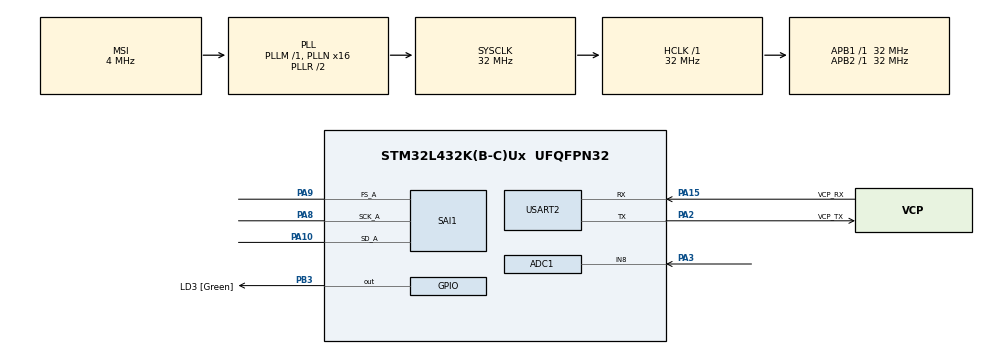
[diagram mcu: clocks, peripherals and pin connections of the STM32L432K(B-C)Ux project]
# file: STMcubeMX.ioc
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ADC1.Channel-0\#ChannelRegularConversion=ADC_CHANNEL_8
ADC1.DMAContinuousRequests=ENABLE
ADC1.ExternalTrigConv=ADC_EXTERNALTRIG_T1_TRGO
ADC1.NbrOfConversionFlag=1
ADC1.OffsetNumber-0\#ChannelRegularConversion=ADC_OFFSET_NONE
ADC1.Rank-0\#ChannelRegularConversion=1
ADC1.SamplingTime-0\#ChannelRegularConversion=ADC_SAMPLETIME_2CYCLES_5
ADC1.master=1
Dma.ADC1.0.Direction=DMA_PERIPH_TO_MEMORY
Dma.ADC1.0.Instance=DMA1_Channel1
Dma.ADC1.0.MemDataAlignment=DMA_MDATAALIGN_HALFWORD
Dma.ADC1.0.MemInc=DMA_MINC_ENABLE
Dma.ADC1.0.Mode=DMA_CIRCULAR
Dma.ADC1.0.PeriphDataAlignment=DMA_PDATAALIGN_HALFWORD
Dma.ADC1.0.PeriphInc=DMA_PINC_DISABLE
Dma.ADC1.0.Priority=DMA_PRIORITY_LOW
Dma.Request0=ADC1
Dma.Request1=SAI1_A
Dma.SAI1_A.1.Direction=DMA_MEMORY_TO_PERIPH
Dma.SAI1_A.1.Instance=DMA2_Channel1
Dma.SAI1_A.1.MemDataAlignment=DMA_MDATAALIGN_HALFWORD
Dma.SAI1_A.1.MemInc=DMA_MINC_ENABLE
Dma.SAI1_A.1.Mode=DMA_CIRCULAR
Dma.SAI1_A.1.PeriphDataAlignment=DMA_PDATAALIGN_HALFWORD
Dma.SAI1_A.1.PeriphInc=DMA_PINC_DISABLE
Dma.SAI1_A.1.Priority=DMA_PRIORITY_LOW
Mcu.Family=STM32L4
Mcu.Name=STM32L432K(B-C)Ux
Mcu.Package=UFQFPN32
NVIC.DMA1_Channel1_IRQn=true\:0\:0\:false\:false\:true\:false\:true\:true
NVIC.DMA2_Channel1_IRQn=true\:0\:0\:false\:false\:true\:false\:true\:true
NVIC.PriorityGroup=NVIC_PRIORITYGROUP_4
PA0.GPIO_Label=MCO [High speed clock in]
PA0.Mode=HSE-External-Clock-Source-for-LittleOrca
PA0.Signal=RCC_CK_IN
PA10.Mode=SAI_A_Master
PA10.Signal=SAI1_SD_A
PA13\ (JTMS-SWDIO).GPIO_Label=SWDIO
PA13\ (JTMS-SWDIO).Mode=Serial_Wire
PA13\ (JTMS-SWDIO).Signal=SYS_JTMS-SWDIO
PA14\ (JTCK-SWCLK).GPIO_Label=SWCLK
PA14\ (JTCK-SWCLK).Mode=Serial_Wire
PA14\ (JTCK-SWCLK).Signal=SYS_JTCK-SWCLK
PA15\ (JTDI).GPIO_Label=VCP_RX
PA15\ (JTDI).Mode=Asynchronous
PA15\ (JTDI).Signal=USART2_RX
PA2.GPIO_Label=VCP_TX
PA2.Mode=Asynchronous
PA2.Signal=USART2_TX
PA3.Signal=ADCx_IN8
PA8.Mode=SAI_A_Master
PA8.Signal=SAI1_SCK_A
PA9.Mode=SAI_A_Master
PA9.Signal=SAI1_FS_A
PB3\ (JTDO-TRACESWO).GPIO_Label=LD3 [Green]
PB3\ (JTDO-TRACESWO).Signal=GPIO_Output
PC14-OSC32_IN\ (PC14).Mode=LSE-External-Oscillator
PC14-OSC32_IN\ (PC14).Signal=RCC_OSC32_IN
PC15-OSC32_OUT\ (PC15).Mode=LSE-External-Oscillator
PC15-OSC32_OUT\ (PC15).Signal=RCC_OSC32_OUT
ProjectManager.HeapSize=0x200
ProjectManager.StackSize=0x400
ProjectManager.TargetToolchain=STM32CubeIDE
RCC.ADCFreq_Value=48000000
RCC.AHBFreq_Value=32000000
RCC.APB1Freq_Value=32000000
RCC.APB1TimFreq_Value=32000000
RCC.APB2Freq_Value=32000000
RCC.APB2TimFreq_Value=32000000
RCC.CortexFreq_Value=32000000
RCC.HCLKFreq_Value=32000000
RCC.HSE_VALUE=8000000
RCC.HSI16_VALUE=16000000
RCC.HSI48_VALUE=48000000
RCC.HSI_VALUE=16000000
RCC.MSI_VALUE=4000000
RCC.PLLMUL=RCC_PLLMUL_4
RCC.PLLN=16
RCC.PLLSAI1N=48
RCC.PLLSAI1P=RCC_PLLP_DIV17
RCC.PLLSAI1R=RCC_PLLR_DIV4
RCC.SYSCLKFreq_VALUE=32000000
RCC.SYSCLKSource=RCC_SYSCLKSOURCE_PLLCLK
RCC.USBFreq_Value=96000000
RCC.VCOOutputFreq_Value=64000000
SAI1.AudioFrequency-SAI_A_Master=SAI_AUDIO_FREQUENCY_44K
SAI1.ErrorAudioFreq-SAI_A_Master=0.03 %
SAI1.InitProtocol-SAI_A_Master=Enable
SAI1.Instance-SAI_A_Master=SAI$Index_Block_A
SAI1.MClockEnable-SAI_A_Master=SAI_MASTERCLOCK_DISABLE
SAI1.MonoStereoMode-SAI_A_Master=SAI_MONOMODE
SAI1.NoDivider-SAI_A_Master=SAI_MASTERDIVIDER_ENABLE
SAI1.RealAudioFreq-SAI_A_Master=44.117 KHz
SAI1.VirtualMode-SAI_A_Master=VM_MASTER
SAI1.VirtualProtocol-SAI_A_BASIC=VM_BASIC_PROTOCOL
SH.ADCx_IN8.0=ADC1_IN8,IN8-Single-Ended
TIM1.AutoReloadPreload=TIM_AUTORELOAD_PRELOAD_ENABLE
TIM1.Period=726
TIM1.TIM_MasterOutputTrigger=TIM_TRGO_UPDATE
TIM1.TIM_MasterSlaveMode=TIM_MASTERSLAVEMODE_ENABLE
USART2.VirtualMode-Asynchronous=VM_ASYNC
VP_SAI1_VP_$IpInstance_SAIA_SAI_BASIC.Mode=SAI_A_BASIC
VP_TIM1_VS_ClockSourceINT.Mode=Internal
board=NUCLEO-L432KC

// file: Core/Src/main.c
/* USER CODE BEGIN Header */
/**
  ******************************************************************************
  * @file           : main.c
  * @brief          : Main program body
  ******************************************************************************
  * @attention
  *
  * Copyright (c) 2025 STMicroelectronics.
  * All rights reserved.
  *
  * This software is licensed under terms that can be found in the LICENSE file
  * in the root directory of this software component.
  * If no LICENSE file comes with this software, it is provided AS-IS.
  *
  ******************************************************************************
  */
/* USER CODE END Header */
#include "main.h"
#include "adc.h"
#include "dma.h"
#include "sai.h"
#include "tim.h"
#include "usart.h"
#include "gpio.h"

/* USER CODE BEGIN PD */
#define BUFFER_SIZE 2048 // Size of the audio buffer (samples). Must be even.
/* USER CODE END PD */

/* USER CODE BEGIN PV */
// Buffer to store data coming IN from the ADC
volatile uint16_t adc_buffer[BUFFER_SIZE];

// Buffer to send data OUT to the SAI
volatile uint16_t sai_buffer[BUFFER_SIZE];
/* USER CODE END PV */

void SystemClock_Config(void);
void PeriphCommonClock_Config(void);

int main(void)
{

  /* MCU Configuration--------------------------------------------------------*/

  /* Reset of all peripherals, Initializes the Flash interface and the Systick. */
  HAL_Init();

  /* Configure the system clock */
  SystemClock_Config();

  /* Configure the peripherals common clocks */
  PeriphCommonClock_Config();

  /* Initialize all configured peripherals */
  MX_GPIO_Init();
  MX_DMA_Init();
  MX_ADC1_Init();
  MX_USART2_UART_Init();
  MX_SAI1_Init();
  MX_TIM1_Init();
  /* USER CODE BEGIN 2 */

  // Run ADC Calibration
  if (HAL_ADCEx_Calibration_Start(&hadc1, ADC_SINGLE_ENDED) != HAL_OK)
  {
    Error_Handler();
  }

  // 1. Start the SAI (Output) first so it is ready to receive data
  // Note: We cast to uint8_t* because the HAL function expects it, even for 16-bit data.
  // If audio sounds weird/fast, try multiplying size by 2: (BUFFER_SIZE * 2)
  if (HAL_SAI_Transmit_DMA(&hsai_BlockA1, (uint8_t*)sai_buffer, BUFFER_SIZE) != HAL_OK)
  {
    Error_Handler();
  }

  // 2. Start the ADC (Input) in DMA mode
  // It will prepare the DMA but wait for the Timer trigger to actually start sampling
  if (HAL_ADC_Start_DMA(&hadc1, (uint32_t*)adc_buffer, BUFFER_SIZE) != HAL_OK)
  {
    Error_Handler();
  }

  // 3. Start the Timer (The Metronome)
  // This starts the 44.1kHz pulses. ADC grabs a sample on every pulse.
  if (HAL_TIM_Base_Start(&htim1) != HAL_OK)
  {
    Error_Handler();
  }

  /* USER CODE END 2 */

  /* Infinite loop */
  while (1)
  {

  }
}

void SystemClock_Config(void)
{
  RCC_OscInitTypeDef RCC_OscInitStruct = {0};
  RCC_ClkInitTypeDef RCC_ClkInitStruct = {0};

  /** Configure the main internal regulator output voltage
  */
  if (HAL_PWREx_ControlVoltageScaling(PWR_REGULATOR_VOLTAGE_SCALE1) != HAL_OK)
  {
    Error_Handler();
  }

  /** Configure LSE Drive Capability
  */
  HAL_PWR_EnableBkUpAccess();
  __HAL_RCC_LSEDRIVE_CONFIG(RCC_LSEDRIVE_LOW);

  /** Initializes the RCC Oscillators according to the specified parameters
  * in the RCC_OscInitTypeDef structure.
  */
  RCC_OscInitStruct.OscillatorType = RCC_OSCILLATORTYPE_LSE|RCC_OSCILLATORTYPE_MSI;
  RCC_OscInitStruct.LSEState = RCC_LSE_ON;
  RCC_OscInitStruct.MSIState = RCC_MSI_ON;
  RCC_OscInitStruct.MSICalibrationValue = 0;
  RCC_OscInitStruct.MSIClockRange = RCC_MSIRANGE_6;
  RCC_OscInitStruct.PLL.PLLState = RCC_PLL_ON;
  RCC_OscInitStruct.PLL.PLLSource = RCC_PLLSOURCE_MSI;
  RCC_OscInitStruct.PLL.PLLM = 1;
  RCC_OscInitStruct.PLL.PLLN = 16;
  RCC_OscInitStruct.PLL.PLLP = RCC_PLLP_DIV7;
  RCC_OscInitStruct.PLL.PLLQ = RCC_PLLQ_DIV2;
  RCC_OscInitStruct.PLL.PLLR = RCC_PLLR_DIV2;
  if (HAL_RCC_OscConfig(&RCC_OscInitStruct) != HAL_OK)
  {
    Error_Handler();
  }

  /** Initializes the CPU, AHB and APB buses clocks
  */
  RCC_ClkInitStruct.ClockType = RCC_CLOCKTYPE_HCLK|RCC_CLOCKTYPE_SYSCLK
                              |RCC_CLOCKTYPE_PCLK1|RCC_CLOCKTYPE_PCLK2;
  RCC_ClkInitStruct.SYSCLKSource = RCC_SYSCLKSOURCE_PLLCLK;
  RCC_ClkInitStruct.AHBCLKDivider = RCC_SYSCLK_DIV1;
  RCC_ClkInitStruct.APB1CLKDivider = RCC_HCLK_DIV1;
  RCC_ClkInitStruct.APB2CLKDivider = RCC_HCLK_DIV1;

  if (HAL_RCC_ClockConfig(&RCC_ClkInitStruct, FLASH_LATENCY_1) != HAL_OK)
  {
    Error_Handler();
  }

  /** Enable MSI Auto calibration
  */
  HAL_RCCEx_EnableMSIPLLMode();
}

void PeriphCommonClock_Config(void)
{
  RCC_PeriphCLKInitTypeDef PeriphClkInit = {0};

  /** Initializes the peripherals clock
  */
  PeriphClkInit.PeriphClockSelection = RCC_PERIPHCLK_SAI1|RCC_PERIPHCLK_ADC;
  PeriphClkInit.Sai1ClockSelection = RCC_SAI1CLKSOURCE_PLLSAI1;
  PeriphClkInit.AdcClockSelection = RCC_ADCCLKSOURCE_PLLSAI1;
  PeriphClkInit.PLLSAI1.PLLSAI1Source = RCC_PLLSOURCE_MSI;
  PeriphClkInit.PLLSAI1.PLLSAI1M = 1;
  PeriphClkInit.PLLSAI1.PLLSAI1N = 48;
  PeriphClkInit.PLLSAI1.PLLSAI1P = RCC_PLLP_DIV17;
  PeriphClkInit.PLLSAI1.PLLSAI1Q = RCC_PLLQ_DIV2;
  PeriphClkInit.PLLSAI1.PLLSAI1R = RCC_PLLR_DIV4;
  PeriphClkInit.PLLSAI1.PLLSAI1ClockOut = RCC_PLLSAI1_SAI1CLK|RCC_PLLSAI1_ADC1CLK;
  if (HAL_RCCEx_PeriphCLKConfig(&PeriphClkInit) != HAL_OK)
  {
    Error_Handler();
  }
}

/* USER CODE BEGIN 4 */

// Callback: Half of the ADC buffer is full
void HAL_ADC_ConvHalfCpltCallback(ADC_HandleTypeDef* hadc)
{
    // While the ADC is filling the SECOND half, we copy the FIRST half to SAI
    if (hadc->Instance == ADC1)
    {
        for (int i = 0; i < BUFFER_SIZE / 2; i++)
        {
            sai_buffer[i] = adc_buffer[i];
        }
    }
}

// Callback: The entire ADC buffer is full
void HAL_ADC_ConvCpltCallback(ADC_HandleTypeDef* hadc)
{
    // While the ADC wraps around to fill the FIRST half, we copy the SECOND half to SAI
    if (hadc->Instance == ADC1)
    {
        for (int i = BUFFER_SIZE / 2; i < BUFFER_SIZE; i++)
        {
            sai_buffer[i] = adc_buffer[i];
        }
    }
}

/* USER CODE END 4 */

void Error_Handler(void)
{
  __disable_irq();
  while (1)
  {
  }
}
